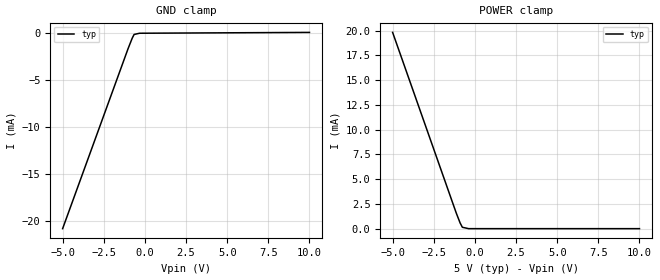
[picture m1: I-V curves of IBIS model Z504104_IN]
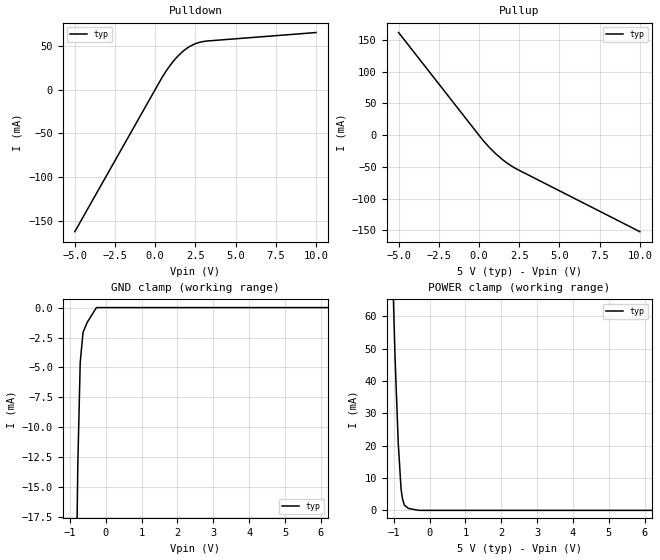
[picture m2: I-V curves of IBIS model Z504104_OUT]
| YOU ARE ONLY AUTHORIZED TO USE THIS SOFTWARE
| ACCORDING TO LICENSOR'S LICENSE RESTRICTIONS.
[IBIS Ver] 3.1
[File Name] mc54hc4078j.ibs
[File Rev] 2.0
[Source] Measured and created by ICX Technology
[Date] Friday 7/14/00 9:08:07 AM
[Copyright]
| (C) COPYRIGHT 1993-2000
| MENTOR GRAPHICS CORPORATION
| ICX STANDARD LIBRARY, ICX PROJECT MODELING,
| ICX CUSTOM MODELING, ICX VENDOR MODEL
| ALL RIGHTS RESERVED.
| THE FOLLOWING ARE TRADEMARKS OR SERVICE MARKS OF
| MENTOR GRAPHICS CORPORATION:ICX (R), ICX STANDARD
| LIBRARY(R), ICX PROJECT MODELING(R), ICX CUSTOM
| MODELING(R), qualityIBIS(TM), MODELVIEWER(TM),
| AND MODELEDITOR(TM)
| ALL COPIES OF SOFTWARE, INCLUDING BUT NOT LIMITED TO
| ANY MODIFICATIONS, ENHANCEMENTS OR DERIVATIVE WORKS,
| MUST CONTAIN ALL MENTOR GRAPHICS CORPORATION'S
| NOTICES AND LEGENDS, INCLUDING THOSE EMBEDDED IN
| SOFTWARE AND THOSE AFFIXED TO SOFTWARE MEDIUM
| AND CONTAINER, AS RECEIVED FROM MENTOR GRAPHICS
| CORPORATION.
|  ZAP Model Builder 2.7
[Component] MC54HC4078J
[Manufacturer] OnSemiconductor
[Package]
| variable   typ   min   max
R_pkg  .21ohms NA NA
L_pkg  4.543nH NA NA
C_pkg  1.8pF NA NA
[Pin] signal_name  model_name  R_pin  L_pin C_pin
1 Y Z504104_OUT .22 6.757n 2.434p
2 A Z504104_IN .212 4.757n 1.941p
3 B Z504104_IN .204 3.257n 1.448p
4 C Z504104_IN .196 2.257n .955p
5 D Z504104_IN .204 3.257n 1.448p
6 NC NC .212 4.757n 1.941p
7 GND GND .22 6.757n 2.434p
8 NC NC .22 6.757n 2.434p
9 E Z504104_IN .212 4.757n 1.941p
10 F Z504104_IN .204 3.257n 1.448p
11 G Z504104_IN .196 2.257n .955p
12 H Z504104_IN .204 3.257n 1.448p
13 _Y Z504104_OUT .212 4.757n 1.941p
14 VCC POWER .22 6.757n 2.434p
| Models and submodels in the file (2): Z504104_IN (Input), Z504104_OUT (Output)
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| (C) COPYRIGHT 1993-2000
| MENTOR GRAPHICS CORPORATION
| ICX STANDARD LIBRARY, ICX PROJECT MODELING,
| ICX CUSTOM MODELING, ICX VENDOR MODEL
| ALL RIGHTS RESERVED.
| THE FOLLOWING ARE TRADEMARKS OR SERVICE MARKS OF
| MENTOR GRAPHICS CORPORATION:ICX (R), ICX STANDARD
| LIBRARY(R), ICX PROJECT MODELING(R), ICX CUSTOM
| MODELING(R), qualityIBIS(TM), MODELVIEWER(TM),
| AND MODELEDITOR(TM)
| ALL COPIES OF SOFTWARE, INCLUDING BUT NOT LIMITED TO
| ANY MODIFICATIONS, ENHANCEMENTS OR DERIVATIVE WORKS,
| MUST CONTAIN ALL MENTOR GRAPHICS CORPORATION'S
| NOTICES AND LEGENDS, INCLUDING THOSE EMBEDDED IN
| SOFTWARE AND THOSE AFFIXED TO SOFTWARE MEDIUM
| AND CONTAINER, AS RECEIVED FROM MENTOR GRAPHICS
| CORPORATION.
| Model Application Version 1.89 2/18/99.
[Model] Z504104_IN
Model_type Input
Vinl = 1.000V
Vinh = 3.500V
C_comp 4.000pF NA NA
| variable typ   min   max
[Voltage Range] 5.000V NA NA
[GND Clamp Reference] 0.000V NA NA
[POWER Clamp Reference] 5.000V NA NA
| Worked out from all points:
|   GND clamp passes 1 mA (typ) near -0.87 V on its own axis
|   POWER clamp passes 1 mA (typ) near -1.00 V on its own axis
[GND Clamp]
-5V       -20.81mA   NA         NA
-1.025V   -1.673mA   NA         NA
-775.9mV  -567.6uA   NA         NA
-656.5mV  -152.1uA   NA         NA
-328.2mV  -22.78uA   NA         NA
10V       67.35uA    NA         NA
[POWER Clamp]
-5V       19.82mA    NA         NA
-1.132V   1.571mA    NA         NA
-900mV    580.1uA    NA         NA
-763mV    141uA      NA         NA
-381.5mV  0A         NA         NA
10V       0A         NA         NA
| (C) COPYRIGHT 1993-2000
| MENTOR GRAPHICS CORPORATION
| ICX STANDARD LIBRARY, ICX PROJECT MODELING,
| ICX CUSTOM MODELING, ICX VENDOR MODEL
| ALL RIGHTS RESERVED.
| THE FOLLOWING ARE TRADEMARKS OR SERVICE MARKS OF
| MENTOR GRAPHICS CORPORATION:ICX (R), ICX STANDARD
| LIBRARY(R), ICX PROJECT MODELING(R), ICX CUSTOM
| MODELING(R), qualityIBIS(TM), MODELVIEWER(TM),
| AND MODELEDITOR(TM)
| ALL COPIES OF SOFTWARE, INCLUDING BUT NOT LIMITED TO
| ANY MODIFICATIONS, ENHANCEMENTS OR DERIVATIVE WORKS,
| MUST CONTAIN ALL MENTOR GRAPHICS CORPORATION'S
| NOTICES AND LEGENDS, INCLUDING THOSE EMBEDDED IN
| SOFTWARE AND THOSE AFFIXED TO SOFTWARE MEDIUM
| AND CONTAINER, AS RECEIVED FROM MENTOR GRAPHICS
| CORPORATION.
| Model Application Version 1.89 2/18/99.
[Model] Z504104_OUT
Model_type Output
Vref=0.000V
Rref=500.0Mohms
Cref=50.00pF
Vmeas=2.500V
C_comp 8.000pF NA NA
| variable typ   min   max
[Voltage Range] 5.000V NA NA
[POWER Clamp Reference] 5.000V NA NA
[Pullup Reference] 5.000V NA NA
[Pulldown Reference] 0.000V NA NA
[GND Clamp Reference] 0.000V NA NA
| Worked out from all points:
|   slope of the pulldown table from 0 to 0.75 V, typ, clamps not added: 32.6 ohm
|   slope of the pullup table from 0 to 0.75 V, typ, clamps not added: 34.4 ohm
|   POWER clamp passes 1 mA (typ) near -0.63 V on its own axis
[GND Clamp]
-5V       -864.8mA   NA         NA
-1.013V   -66.41mA   NA         NA
-780mV    -13.02mA   NA         NA
-713.2mV  -4.555mA   NA         NA
-634.5mV  -2.074mA   NA         NA
-522.2mV  -1.254mA   NA         NA
-261.1mV  0A         NA         NA
10V       0A         NA         NA
[Pulldown]
-5V       -162.4mA   NA         NA
410.9mV   13.47mA    NA         NA
1.112V    32.12mA    NA         NA
1.742V    44.04mA    NA         NA
2.157V    49.47mA    NA         NA
2.458V    52.22mA    NA         NA
3.176V    55.48mA    NA         NA
10V       65.23mA    NA         NA
[Pullup]
-5V       161.8mA    NA         NA
226mV     -7.389mA   NA         NA
635mV     -18.99mA   NA         NA
1.047V    -29.38mA   NA         NA
1.459V    -38.4mA    NA         NA
1.656V    -42.25mA   NA         NA
1.914V    -46.84mA   NA         NA
2.286V    -52.57mA   NA         NA
10V       -152mA     NA         NA
[POWER Clamp]
-5V       1.652A     NA         NA
-965mV    48.2mA     NA         NA
-875mV    21.18mA    NA         NA
-795mV    6.637mA    NA         NA
-756mV    3.61mA     NA         NA
-702mV    1.599mA    NA         NA
-588mV    590.3uA    NA         NA
-294mV    0A         NA         NA
10V       0A         NA         NA
[Ramp]
| variable typ min max
dV/dt_r 2.824/2.844n NA NA
dV/dt_f 2.824/2.493n NA NA
R_load = 500.0Ohms
